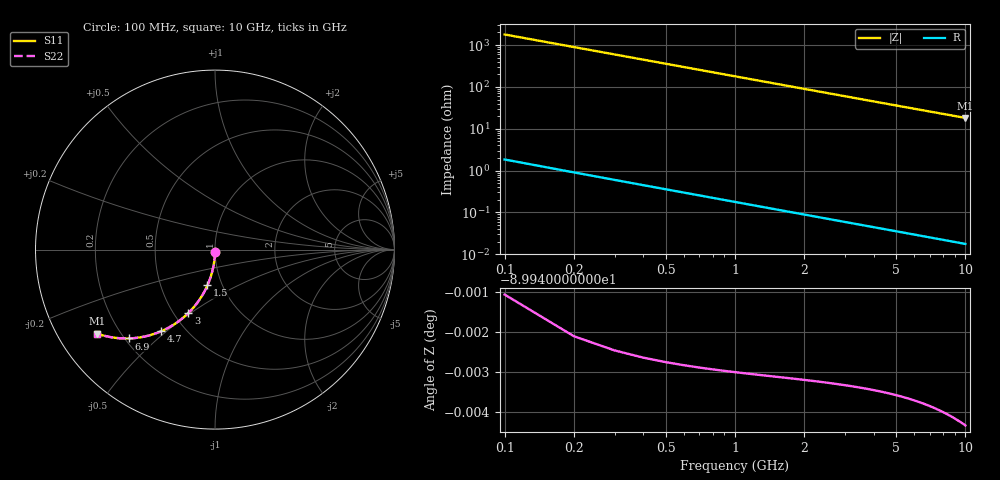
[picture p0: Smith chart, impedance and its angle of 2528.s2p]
# Hz S RI R 50.00
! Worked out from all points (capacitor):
!   100 points, 100 MHz to 10 GHz, reference 50 ohm
!   read as one part in shunt: C = 887 fF near 100 MHz
!   lowest |Z| = 18.2 ohm at 10 GHz (marker M1)
!   S11 on the Smith chart (normalised r, x): 100 MHz: 1.00, -0.03; 1.5 GHz: 0.85, -0.35; 3 GHz: 0.59, -0.49; 4.7 GHz: 0.37, -0.48; 6.9 GHz: 0.22, -0.41; 10 GHz: 0.12, -0.32
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1e8  -0.000192 -0.0139  0.9998 -0.014  0.9998 -0.014  -0.000192 -0.0139
2e8  -0.000788 -0.0277  0.9992 -0.028  0.9992 -0.028  -0.000788 -0.0277
3e8  -0.00177 -0.0416  0.9982 -0.0419  0.9982 -0.0419  -0.00177 -0.0416
4e8  -0.00314 -0.0553  0.9968 -0.0558  0.9968 -0.0558  -0.00314 -0.0553
5e8  -0.00489 -0.0691  0.9951 -0.0696  0.9951 -0.0696  -0.00489 -0.0691
6e8  -0.00701 -0.0827  0.993 -0.0834  0.993 -0.0834  -0.00701 -0.0827
7e8  -0.00951 -0.0962  0.9905 -0.097  0.9905 -0.097  -0.00951 -0.0962
9e8  -0.0156 -0.1229  0.9844 -0.124  0.9844 -0.124  -0.0156 -0.1229
1.2e9  -0.0273 -0.1619  0.9726 -0.1633  0.9726 -0.1633  -0.0273 -0.1619
1.5e9  -0.042 -0.1992  0.958 -0.201  0.958 -0.201  -0.042 -0.1992
1.8e9  -0.0593 -0.2347  0.9406 -0.2368  0.9406 -0.2368  -0.0593 -0.2347
2.4e9  -0.1006 -0.2989  0.8993 -0.3018  0.8993 -0.3018  -0.1006 -0.2989
3e9  -0.1486 -0.3534  0.8513 -0.357  0.8513 -0.357  -0.1486 -0.3534
3.4e9  -0.183 -0.3841  0.817 -0.3882  0.817 -0.3882  -0.183 -0.3841
4e9  -0.2364 -0.422  0.7635 -0.4268  0.7635 -0.4268  -0.2364 -0.422
4.7e9  -0.2991 -0.4545  0.7008 -0.4602  0.7008 -0.4602  -0.2991 -0.4545
5.1e9  -0.3343 -0.4682  0.6657 -0.4743  0.6657 -0.4743  -0.3343 -0.4682
5.9e9  -0.4016 -0.4861  0.5984 -0.4933  0.5984 -0.4933  -0.4016 -0.4861
6.7e9  -0.4636 -0.4941  0.5364 -0.5023  0.5364 -0.5023  -0.4636 -0.4941
6.9e9  -0.4781 -0.4948  0.5218 -0.5032  0.5218 -0.5032  -0.4781 -0.4948
8.4e9  -0.5754 -0.4886  0.4245 -0.4989  0.4245 -0.4989  -0.5754 -0.4886
1e10  -0.6572 -0.4679  0.3427 -0.4803  0.3427 -0.4803  -0.6572 -0.4679
